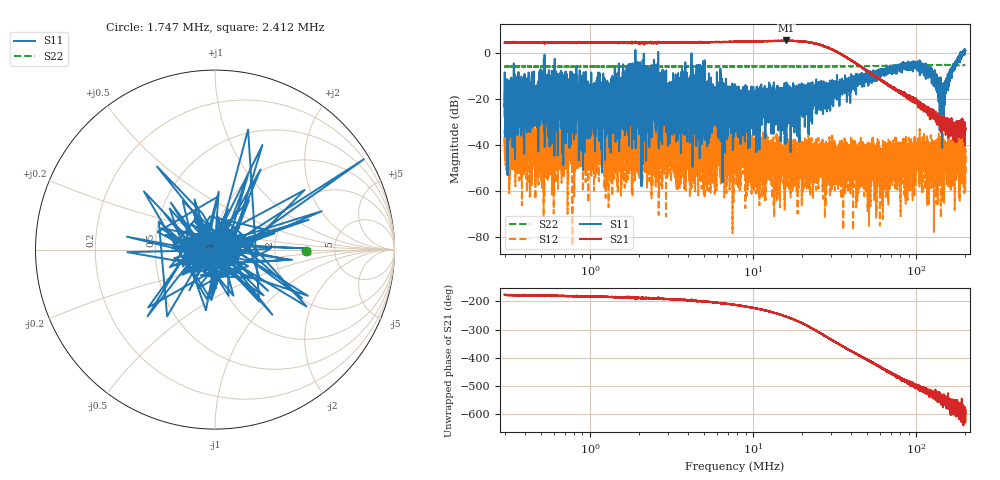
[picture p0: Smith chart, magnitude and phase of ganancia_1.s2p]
# Hz S DB R 50
! CMT, M5065, 19127446, 24.2.4/2
! Date: 11/1/2024 4:13:56 PM
! Data: Format (Calibration Info)
! Freq	S11:dB/Ang(F2)	S21:dB/Ang(F2)	S12:dB/Ang(F2)	S22:dB/Ang(F2)
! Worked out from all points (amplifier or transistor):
!   9000 points, 300 kHz to 200 MHz, reference 50 ohm
!   highest |S21| = 5.4 dB at 16.02 MHz (marker M1)
!   |S21| within 3 dB of that: start of sweep to 28.37 MHz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
!   unconditionally stable (mu >= 1): start of sweep to 1.9 MHz; 4.194 MHz to 186.5 MHz; 186.7 MHz to 190.2 MHz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
!   at 886.8 kHz: K = 14.98, MAG = 5.9 dB, |S12| = -36.7 dB
!   at 7.749 MHz: K = 19.28, MAG = 6.1 dB, |S12| = -39.2 dB
!   at 200 MHz: K = -2230.46, MSG = 10.3 dB, |S12| = -53.7 dB
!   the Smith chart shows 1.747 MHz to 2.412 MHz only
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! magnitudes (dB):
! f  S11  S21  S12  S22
! 300 kHz  -22.4  4.5  -43.7  -5.9
! 309 kHz  -18.3  4.5  -40.2  -5.9
! 511.3 kHz  -15.0  4.6  -38.5  -5.9
! 886.8 kHz  -42.3  4.6  -36.7  -5.9
! 1.181 MHz  -26.7  4.5  -25.1  -5.7
! 1.287 MHz  -13.0  4.7  -43.7  -5.9
! 1.37 MHz  -14.8  4.4  -43.1  -5.8
! 1.739 MHz  -15.6  4.6  -29.3  -5.8
! 2.621 MHz  0.5  5.0  -35.7  -5.9
! 3.177 MHz  -17.7  4.4  -35.2  -5.9
! 4.536 MHz  -23.0  4.6  -44.6  -5.8
! 5.185 MHz  -24.4  4.6  -48.6  -5.9
! 7.749 MHz  -20.8  4.8  -39.2  -5.9
! 16.02 MHz  -12.8  5.4  -43.9  -5.8
! 22.91 MHz  -17.4  4.4  -40.5  -5.8
! 67.71 MHz  -7.2  -14.1  -43.1  -5.5
! 112.3 MHz  -5.0  -23.8  -48.5  -5.4
! 126.3 MHz  -9.0  -27.3  -43.2  -5.3
! 143.8 MHz  -18.8  -27.3  -46.6  -5.2
! 178.2 MHz  -4.5  -30.0  -46.3  -5.3
! 193.5 MHz  0.1  -33.3  -57.4  -5.3
! 200 MHz  1.1  -33.1  -53.7  -5.3
